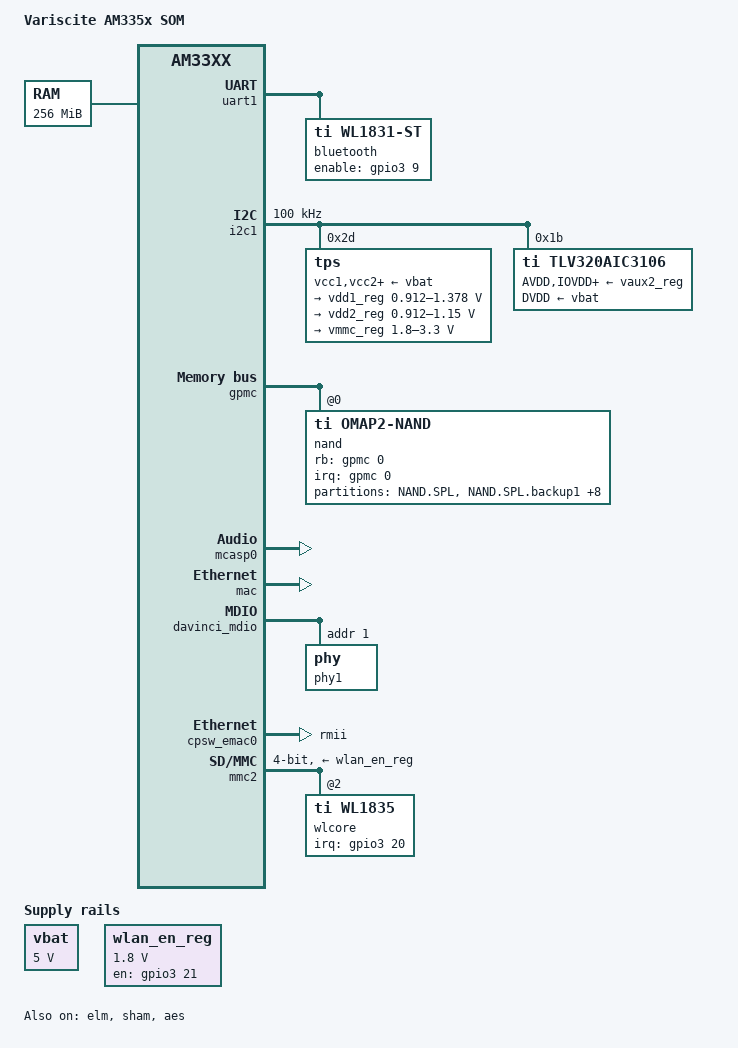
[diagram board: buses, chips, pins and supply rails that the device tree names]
// SPDX-License-Identifier: GPL-2.0-only
/*
 * Copyright (C) 2023 Variscite LTD - http://www.variscite.com/
 */
/dts-v1/;

#include "am33xx.dtsi"
#include <dt-bindings/interrupt-controller/irq.h>

/ {
	model = "Variscite AM335x SOM";
	compatible = "ti,var-som-am33", "ti,am33xx";

	cpus {
		cpu@0 {
			cpu0-supply = <&vdd1_reg>;
		};
	};

	memory@80000000 {
		device_type = "memory";
		reg = <0x80000000 0x10000000>; /* 256 MB */
	};

	vbat: fixedregulator0 {
		compatible = "regulator-fixed";
		regulator-name = "vbat";
		regulator-min-microvolt = <5000000>;
		regulator-max-microvolt = <5000000>;
		regulator-boot-on;
	};

	wlan_en_reg: fixedregulator1 {
		compatible = "regulator-fixed";
		regulator-name = "wlan-en-regulator";
		regulator-min-microvolt = <1800000>;
		regulator-max-microvolt = <1800000>;
		gpio = <&gpio3 21 GPIO_ACTIVE_HIGH>;
		startup-delay-us = <70000>;
		enable-active-high;
	};

	sound {
		compatible = "simple-audio-card";
		simple-audio-card,name = "VAR-SOM-AM33";
		simple-audio-card,widgets =
			"Headphone", "Headphone Jack",
			"Line", "Line In";
		simple-audio-card,routing =
			"Headphone Jack",	"HPLOUT",
			"Headphone Jack",	"HPROUT",
			"LINE1L",		"Line In",
			"LINE1R",		"Line In";
		simple-audio-card,format = "dsp_b";
		simple-audio-card,bitclock-master = <&sound_master>;
		simple-audio-card,frame-master = <&sound_master>;
		simple-audio-card,bitclock-inversion;

		simple-audio-card,cpu {
			sound-dai = <&mcasp0>;
		};

		sound_master: simple-audio-card,codec {
			sound-dai = <&tlv320aic3106>;
			system-clock-frequency = <24000000>;
		};
	};
};

&am33xx_pinmux {
	pinctrl-names = "default";
	pinctrl-0 = <&clkout1_pin>;

	i2c1_pins: pinmux_i2c1_pins {
		pinctrl-single,pins = <
			AM33XX_PADCONF(AM335X_PIN_SPI0_D1, PIN_INPUT_PULLUP, MUX_MODE2)		/* spi0_d1.i2c1_sda */
			AM33XX_PADCONF(AM335X_PIN_SPI0_CS0, PIN_INPUT_PULLUP, MUX_MODE2)	/* spi0_cs0.i2c1_scl */
		>;
	};

	uart1_pins_default: pinmux_uart1_pins_default {
		pinctrl-single,pins = <
			AM33XX_PADCONF(AM335X_PIN_UART1_CTSN, PIN_INPUT, MUX_MODE0)		/* uart1_ctsn.uart1_ctsn */
			AM33XX_PADCONF(AM335X_PIN_UART1_RTSN, PIN_OUTPUT_PULLDOWN, MUX_MODE0)	/* uart1_rtsn.uart1_rtsn */
			AM33XX_PADCONF(AM335X_PIN_UART1_RXD, PIN_INPUT_PULLUP, MUX_MODE0)	/* uart1_rxd.uart1_rxd */
			AM33XX_PADCONF(AM335X_PIN_UART1_TXD, PIN_OUTPUT_PULLDOWN, MUX_MODE0)	/* uart1_txd.uart1_txd */
		>;
	};

	uart1_pins_sleep: pinmux_uart1_pins_sleep {
		pinctrl-single,pins = <
			AM33XX_PADCONF(AM335X_PIN_UART1_CTSN, PIN_INPUT_PULLDOWN, MUX_MODE7)	/* uart1_ctsn.gpio0_12 */
			AM33XX_PADCONF(AM335X_PIN_UART1_RTSN, PIN_INPUT_PULLDOWN, MUX_MODE7)	/* uart1_rtsn.gpio0_13 */
			AM33XX_PADCONF(AM335X_PIN_UART1_RXD, PIN_INPUT_PULLDOWN, MUX_MODE7)	/* uart1_rxd.gpio0_14 */
			AM33XX_PADCONF(AM335X_PIN_UART1_TXD, PIN_INPUT_PULLDOWN, MUX_MODE7)	/* uart1_txd.gpio0_15 */
		>;
	};

	clkout1_pin: pinmux_clkout1_pin {
		pinctrl-single,pins = <
			AM33XX_PADCONF(AM335X_PIN_XDMA_EVENT_INTR0, PIN_OUTPUT_PULLDOWN, MUX_MODE3)	/* xdma_event_intr0.clkout1 */
		>;
	};

	nandflash_pins_default: pinmux_nandflash_pins_default{
		pinctrl-single,pins = <
			AM33XX_PADCONF(AM335X_PIN_GPMC_AD0, PIN_INPUT_PULLUP, MUX_MODE0)	/* gpmc_ad0.gpmc_ad0 */
			AM33XX_PADCONF(AM335X_PIN_GPMC_AD1, PIN_INPUT_PULLUP, MUX_MODE0)	/* gpmc_ad1.gpmc_ad1 */
			AM33XX_PADCONF(AM335X_PIN_GPMC_AD2, PIN_INPUT_PULLUP, MUX_MODE0)	/* gpmc_ad2.gpmc_ad2 */
			AM33XX_PADCONF(AM335X_PIN_GPMC_AD3, PIN_INPUT_PULLUP, MUX_MODE0)	/* gpmc_ad3.gpmc_ad3 */
			AM33XX_PADCONF(AM335X_PIN_GPMC_AD4, PIN_INPUT_PULLUP, MUX_MODE0)	/* gpmc_ad4.gpmc_ad4 */
			AM33XX_PADCONF(AM335X_PIN_GPMC_AD5, PIN_INPUT_PULLUP, MUX_MODE0)	/* gpmc_ad5.gpmc_ad5 */
			AM33XX_PADCONF(AM335X_PIN_GPMC_AD6, PIN_INPUT_PULLUP, MUX_MODE0)	/* gpmc_ad6.gpmc_ad6 */
			AM33XX_PADCONF(AM335X_PIN_GPMC_AD7, PIN_INPUT_PULLUP, MUX_MODE0)	/* gpmc_ad7.gpmc_ad7 */
			AM33XX_PADCONF(AM335X_PIN_GPMC_WAIT0, PIN_INPUT_PULLUP, MUX_MODE0)	/* gpmc_wait0.gpmc_wait0 */
			AM33XX_PADCONF(AM335X_PIN_GPMC_WPN, PIN_INPUT_PULLUP, MUX_MODE7)	/* gpmc_wpn.gpio0_31 */
			AM33XX_PADCONF(AM335X_PIN_GPMC_CSN0, PIN_OUTPUT, MUX_MODE0)		/* gpmc_csn0.gpmc_csn0 */
			AM33XX_PADCONF(AM335X_PIN_GPMC_ADVN_ALE, PIN_OUTPUT, MUX_MODE0)		/* gpmc_advn_ale.gpmc_advn_ale */
			AM33XX_PADCONF(AM335X_PIN_GPMC_OEN_REN, PIN_OUTPUT, MUX_MODE0)		/* gpmc_oen_ren.gpmc_oen_ren */
			AM33XX_PADCONF(AM335X_PIN_GPMC_WEN, PIN_OUTPUT, MUX_MODE0)		/* gpmc_wen.gpmc_wen */
			AM33XX_PADCONF(AM335X_PIN_GPMC_BEN0_CLE, PIN_OUTPUT, MUX_MODE0)		/* gpmc_ben0_cle.gpmc_ben0_cle */
		>;
	};

	nandflash_pins_sleep: pinmux_nandflash_pins_sleep {
		pinctrl-single,pins = <
			AM33XX_PADCONF(AM335X_PIN_GPMC_AD0, PIN_INPUT_PULLDOWN, MUX_MODE7)	/* gpmc_ad0.gpio1_0 */
			AM33XX_PADCONF(AM335X_PIN_GPMC_AD1, PIN_INPUT_PULLDOWN, MUX_MODE7)	/* gpmc_ad1.gpio1_1 */
			AM33XX_PADCONF(AM335X_PIN_GPMC_AD2, PIN_INPUT_PULLDOWN, MUX_MODE7)	/* gpmc_ad2.gpio1_2 */
			AM33XX_PADCONF(AM335X_PIN_GPMC_AD3, PIN_INPUT_PULLDOWN, MUX_MODE7)	/* gpmc_ad3.gpio1_3 */
			AM33XX_PADCONF(AM335X_PIN_GPMC_AD4, PIN_INPUT_PULLDOWN, MUX_MODE7)	/* gpmc_ad4.gpio1_4 */
			AM33XX_PADCONF(AM335X_PIN_GPMC_AD5, PIN_INPUT_PULLDOWN, MUX_MODE7)	/* gpmc_ad5.gpio1_5 */
			AM33XX_PADCONF(AM335X_PIN_GPMC_AD6, PIN_INPUT_PULLDOWN, MUX_MODE7)	/* gpmc_ad6.gpio1_6 */
			AM33XX_PADCONF(AM335X_PIN_GPMC_AD7, PIN_INPUT_PULLDOWN, MUX_MODE7)	/* gpmc_ad7.ggpio1_7 */
			AM33XX_PADCONF(AM335X_PIN_GPMC_WAIT0, PIN_INPUT_PULLDOWN, MUX_MODE7)	/* gpmc_wait0.gpio0_30 */
			AM33XX_PADCONF(AM335X_PIN_GPMC_WPN, PIN_INPUT_PULLDOWN, MUX_MODE7)	/* gpmc_wpn.gpio0_31 */
			AM33XX_PADCONF(AM335X_PIN_GPMC_CSN0, PIN_INPUT_PULLDOWN, MUX_MODE7)	/* gpmc_csn0.gpio1_29 */
			AM33XX_PADCONF(AM335X_PIN_GPMC_ADVN_ALE, PIN_INPUT_PULLDOWN, MUX_MODE7)	/* gpmc_advn_ale.gpio2_2 */
			AM33XX_PADCONF(AM335X_PIN_GPMC_OEN_REN, PIN_INPUT_PULLDOWN, MUX_MODE7)	/* gpmc_oen_ren.gpio2_3 */
			AM33XX_PADCONF(AM335X_PIN_GPMC_WEN, PIN_INPUT_PULLDOWN, MUX_MODE7)	/* gpmc_wen.gpio2_4 */
			AM33XX_PADCONF(AM335X_PIN_GPMC_BEN0_CLE, PIN_INPUT_PULLDOWN, MUX_MODE7)	/* gpmc_be0n_cle.gpio2_4 */
		>;
	};

	cpsw_slave1_default: pinmux_cpsw_slave1_default {
		pinctrl-single,pins = <
			/* Slave 1 */
			AM33XX_PADCONF(AM335X_PIN_MII1_CRS,PIN_INPUT_PULLDOWN, MUX_MODE1)	/* mii1_crs.rmii1_crs_dv */
			AM33XX_PADCONF(AM335X_PIN_MII1_RX_ER, PIN_INPUT_PULLDOWN, MUX_MODE1)	/* mii1_rxerr.rmii1_rxerr */
			AM33XX_PADCONF(AM335X_PIN_MII1_TX_EN, PIN_OUTPUT, MUX_MODE1)		/* mii1_txen.rmii1_txen */
			AM33XX_PADCONF(AM335X_PIN_MII1_TXD1, PIN_OUTPUT, MUX_MODE1)		/* mii1_txd1.rmii1_txd1 */
			AM33XX_PADCONF(AM335X_PIN_MII1_TXD0, PIN_OUTPUT, MUX_MODE1)		/* mii1_txd0.rmii1_txd0 */
			AM33XX_PADCONF(AM335X_PIN_MII1_RXD1, PIN_INPUT_PULLDOWN, MUX_MODE1)	/* mii1_rxd1.rmii1_rxd1 */
			AM33XX_PADCONF(AM335X_PIN_MII1_RXD0, PIN_INPUT_PULLDOWN, MUX_MODE1)	/* mii1_rxd0.rmii1_rxd0 */
			AM33XX_PADCONF(AM335X_PIN_RMII1_REF_CLK, PIN_INPUT_PULLDOWN, MUX_MODE0)	/* rmii1_refclk.rmii1_refclk */
			AM33XX_PADCONF(AM335X_PIN_MII1_RXD2, PIN_INPUT_PULLUP, MUX_MODE7)	/* mii1_rxd2.gpio2_19 */
		>;
	};

	cpsw_slave1_sleep: pinmux_cpsw_slave1_sleep {
		pinctrl-single,pins = <
			/* Slave 1 reset value */
			AM33XX_PADCONF(AM335X_PIN_MII1_CRS,PIN_INPUT_PULLDOWN, MUX_MODE7)	/* mii1_crs.gpio */
			AM33XX_PADCONF(AM335X_PIN_MII1_RX_ER, PIN_INPUT_PULLDOWN, MUX_MODE7)	/* mii1_rxerr.gpio */
			AM33XX_PADCONF(AM335X_PIN_MII1_TX_EN, PIN_INPUT_PULLDOWN, MUX_MODE7)	/* mii1_txen.gpio */
			AM33XX_PADCONF(AM335X_PIN_MII1_TXD1, PIN_INPUT_PULLDOWN, MUX_MODE7)	/* mii1_txd1.gpio */
			AM33XX_PADCONF(AM335X_PIN_MII1_TXD0, PIN_INPUT_PULLDOWN, MUX_MODE7)	/* mii1_txd0.gpio */
			AM33XX_PADCONF(AM335X_PIN_MII1_RXD1, PIN_INPUT_PULLDOWN, MUX_MODE7)	/* mii1_rxd1.gpio */
			AM33XX_PADCONF(AM335X_PIN_MII1_RXD0, PIN_INPUT_PULLDOWN, MUX_MODE7)	/* mii1_rxd0.gpio */
			AM33XX_PADCONF(AM335X_PIN_RMII1_REF_CLK, PIN_INPUT_PULLDOWN, MUX_MODE7)	/* rmii1_refclk.gpio */
			AM33XX_PADCONF(AM335X_PIN_MII1_RXD2, PIN_INPUT_PULLUP, MUX_MODE7)	/* mii1_rxd2.gpio2_19 */
		>;
	};

	davinci_mdio_default: davinci_mdio_default {
		pinctrl-single,pins = <
			/* MDIO */
			AM33XX_PADCONF(AM335X_PIN_MDIO, PIN_INPUT_PULLUP | SLEWCTRL_FAST, MUX_MODE0)	/* mdio_data.mdio_data */
			AM33XX_PADCONF(AM335X_PIN_MDC, PIN_OUTPUT_PULLUP, MUX_MODE0)			/* mdio_clk.mdio_clk */
		>;
	};

	davinci_mdio_sleep: davinci_mdio_sleep {
		pinctrl-single,pins = <
			/* MDIO reset value */
			AM33XX_PADCONF(AM335X_PIN_MDIO, PIN_INPUT_PULLDOWN, MUX_MODE7)		/* mdio_data.gpio */
			AM33XX_PADCONF(AM335X_PIN_MDC, PIN_INPUT_PULLDOWN, MUX_MODE7)		/* mdio_clk.gpio */
		>;
	};

	mcasp0_pins_default: mcasp0_pins_default {
		pinctrl-single,pins = <
			AM33XX_PADCONF(AM335X_PIN_MCASP0_ACLKX, PIN_INPUT_PULLDOWN, MUX_MODE0)	/* mcasp0_aclkx.mcasp0_aclkx */
			AM33XX_PADCONF(AM335X_PIN_MCASP0_FSX, PIN_INPUT_PULLDOWN, MUX_MODE0)	/* mcasp0_fsx.mcasp0_fsx */
			AM33XX_PADCONF(AM335X_PIN_MCASP0_ACLKR, PIN_INPUT_PULLDOWN, MUX_MODE2)	/* mcasp0_aclkr.mcasp0_axr2 */
			AM33XX_PADCONF(AM335X_PIN_MCASP0_FSR, PIN_INPUT_PULLDOWN, MUX_MODE2)	/* mcasp0_fsr.mcasp0_axr3 */
		>;
	};

	mcasp0_pins_sleep: mcasp0_pins_sleep {
		pinctrl-single,pins = <
			AM33XX_PADCONF(AM335X_PIN_MCASP0_ACLKX, PIN_INPUT_PULLDOWN, MUX_MODE7)	/* mcasp0_aclkx.gpio */
			AM33XX_PADCONF(AM335X_PIN_MCASP0_FSX, PIN_INPUT_PULLDOWN, MUX_MODE7)	/* mcasp0_fsx.gpio */
			AM33XX_PADCONF(AM335X_PIN_MCASP0_ACLKR, PIN_INPUT_PULLDOWN, MUX_MODE7)	/* mcasp0_aclkr.gpio */
			AM33XX_PADCONF(AM335X_PIN_MCASP0_FSR, PIN_INPUT_PULLDOWN, MUX_MODE7)	/* mcasp0_fsr.gpio */
		>;
	};

	/* wl18xx card on mmc2 */
	mmc2_pins_default: pinmux_mmc2_pins_default {
		pinctrl-single,pins = <
			AM33XX_PADCONF(AM335X_PIN_GPMC_AD8, PIN_INPUT_PULLUP, MUX_MODE2)	/* gpmc_ad8.mmc1_dat0 */
			AM33XX_PADCONF(AM335X_PIN_GPMC_AD9, PIN_INPUT_PULLUP, MUX_MODE2)	/* gpmc_ad9.mmc1_dat1 */
			AM33XX_PADCONF(AM335X_PIN_GPMC_AD10, PIN_INPUT_PULLUP, MUX_MODE2)	/* gpmc_ad10.mmc1_dat2 */
			AM33XX_PADCONF(AM335X_PIN_GPMC_AD11, PIN_INPUT_PULLUP, MUX_MODE2)	/* gpmc_ad11.mmc1_dat3 */
			AM33XX_PADCONF(AM335X_PIN_GPMC_CSN2, PIN_INPUT_PULLUP, MUX_MODE2)	/* gpmc_csn2.mmc1_cmd */
			AM33XX_PADCONF(AM335X_PIN_GPMC_CSN1, PIN_INPUT_PULLUP, MUX_MODE2)	/* gpmc_csn1.mmc1_clk */
		>;
	};

	mmc2_pins_sleep: pinmux_mmc2_pins_sleep {
		pinctrl-single,pins = <
			AM33XX_PADCONF(AM335X_PIN_GPMC_AD8, PIN_INPUT_PULLUP, MUX_MODE7)	/* gpmc_ad8.gpio */
			AM33XX_PADCONF(AM335X_PIN_GPMC_AD9, PIN_INPUT_PULLUP, MUX_MODE7)	/* gpmc_ad9.gpio */
			AM33XX_PADCONF(AM335X_PIN_GPMC_AD10, PIN_INPUT_PULLUP, MUX_MODE7)	/* gpmc_ad10.gpio */
			AM33XX_PADCONF(AM335X_PIN_GPMC_AD11, PIN_INPUT_PULLUP, MUX_MODE7)	/* gpmc_ad11.gpio */
			AM33XX_PADCONF(AM335X_PIN_GPMC_CSN2, PIN_INPUT_PULLUP, MUX_MODE7)	/* gpmc_csn2.gpio */
			AM33XX_PADCONF(AM335X_PIN_GPMC_CSN1, PIN_INPUT_PULLUP, MUX_MODE7)	/* gpmc_csn1.gpio */
		>;
	};

	/* wl18xx card enable/irq GPIOs. */
	wlan_pins_default: pinmux_wlan_pins_default {
		pinctrl-single,pins = <
			AM33XX_PADCONF(AM335X_PIN_MCASP0_AHCLKX, PIN_OUTPUT_PULLUP, MUX_MODE7)	/* mcasp0_ahclkx.gpio3_21, WL_EN */
			AM33XX_PADCONF(AM335X_PIN_MCASP0_AXR1, PIN_INPUT_PULLUP, MUX_MODE7)	/* mcasp0_axr1.gpio3_20, WL_IRQ */
		>;
	};

	bt_pins_default: pinmux_bt_pins_default {
		pinctrl-single,pins = <
			AM33XX_PADCONF(AM335X_PIN_MII1_TX_CLK, PIN_OUTPUT_PULLDOWN, MUX_MODE7)	/* mii1_txclk.gpio3_9, BT_EN */
		>;
	};

	wlan_pins_sleep: pinmux_wlan_pins_sleep {
		pinctrl-single,pins = <
			AM33XX_PADCONF(AM335X_PIN_MCASP0_AHCLKX, PIN_OUTPUT_PULLUP, MUX_MODE7)	/* mcasp0_ahclkx.gpio3_21, WL_EN */
			AM33XX_PADCONF(AM335X_PIN_MCASP0_AXR1, PIN_INPUT_PULLUP, MUX_MODE7)	/* mcasp0_axr1.gpio3_20, WL_IRQ */
		>;
	};

	bt_pins_sleep: pinmux_bt_pins_sleep {
		pinctrl-single,pins = <
			AM33XX_PADCONF(AM335X_PIN_MII1_TX_CLK, PIN_OUTPUT_PULLUP, MUX_MODE7)	/* mii1_txclk.gpio3_9, BT_EN */
		>;
	};
};

&uart1 {
	pinctrl-names = "default", "sleep";
	pinctrl-0 = <&uart1_pins_default &bt_pins_default>;
	pinctrl-1 = <&uart1_pins_sleep &bt_pins_sleep>;
	status = "okay";
	bluetooth {
		compatible = "ti,wl1831-st";
		enable-gpios = <&gpio3 9 GPIO_ACTIVE_HIGH>;
	};
};

&i2c1 {
	pinctrl-names = "default";
	pinctrl-0 = <&i2c1_pins>;

	status = "okay";
	clock-frequency = <100000>;

	tps: tps@2d {
		reg = <0x2d>;
	};

	tlv320aic3106: tlv320aic3106@1b {
		#sound-dai-cells = <0>;
		compatible = "ti,tlv320aic3106";
		reg = <0x1b>;
		status = "okay";

		/* Regulators */
		AVDD-supply = <&vaux2_reg>;
		IOVDD-supply = <&vaux2_reg>;
		DRVDD-supply = <&vaux2_reg>;
		DVDD-supply = <&vbat>;
	};
};

&elm {
	status = "okay";
};

&gpmc {
	status = "okay";
	pinctrl-names = "default", "sleep";
	pinctrl-0 = <&nandflash_pins_default>;
	pinctrl-1 = <&nandflash_pins_sleep>;
	ranges = <0 0 0x08000000 0x10000000>;	/* CS0: NAND */
	nand@0,0 {
		compatible = "ti,omap2-nand";
		reg = <0 0 4>; /* CS0, offset 0, IO size 4 */
		interrupt-parent = <&gpmc>;
		interrupts = <0 IRQ_TYPE_NONE>, /* fifoevent */
			     <1 IRQ_TYPE_NONE>;	/* termcount */
		rb-gpios = <&gpmc 0 GPIO_ACTIVE_HIGH>; /* gpmc_wait0 */
		ti,nand-xfer-type = "prefetch-dma";
		ti,nand-ecc-opt = "bch8";
		ti,elm-id = <&elm>;
		nand-bus-width = <8>;
		gpmc,device-width = <1>;
		gpmc,sync-clk-ps = <0>;
		gpmc,cs-on-ns = <0>;
		gpmc,cs-rd-off-ns = <44>;
		gpmc,cs-wr-off-ns = <44>;
		gpmc,adv-on-ns = <6>;
		gpmc,adv-rd-off-ns = <34>;
		gpmc,adv-wr-off-ns = <44>;
		gpmc,we-on-ns = <0>;
		gpmc,we-off-ns = <40>;
		gpmc,oe-on-ns = <0>;
		gpmc,oe-off-ns = <54>;
		gpmc,access-ns = <64>;
		gpmc,rd-cycle-ns = <82>;
		gpmc,wr-cycle-ns = <82>;
		gpmc,bus-turnaround-ns = <0>;
		gpmc,cycle2cycle-delay-ns = <0>;
		gpmc,clk-activation-ns = <0>;
		gpmc,wr-access-ns = <40>;
		gpmc,wr-data-mux-bus-ns = <0>;
		/* MTD partition table */
		/* All SPL-* partitions are sized to minimal length
		 * which can be independently programmable. For
		 * NAND flash this is equal to size of erase-block */
		#address-cells = <1>;
		#size-cells = <1>;
		partition@0 {
			label = "NAND.SPL";
			reg = <0x00000000 0x000020000>;
		};
		partition@1 {
			label = "NAND.SPL.backup1";
			reg = <0x00020000 0x00020000>;
		};
		partition@2 {
			label = "NAND.SPL.backup2";
			reg = <0x00040000 0x00020000>;
		};
		partition@3 {
			label = "NAND.SPL.backup3";
			reg = <0x00060000 0x00020000>;
		};
		partition@4 {
			label = "NAND.u-boot-spl-os";
			reg = <0x00080000 0x00040000>;
		};
		partition@5 {
			label = "NAND.u-boot";
			reg = <0x000C0000 0x00100000>;
		};
		partition@6 {
			label = "NAND.u-boot-env";
			reg = <0x001C0000 0x00020000>;
		};
		partition@7 {
			label = "NAND.u-boot-env.backup1";
			reg = <0x001E0000 0x00020000>;
		};
		partition@8 {
			label = "NAND.kernel";
			reg = <0x00200000 0x00800000>;
		};
		partition@9 {
			label = "NAND.file-system";
			reg = <0x00A00000 0x1f600000>;
		};
	};
};

#include "tps65910.dtsi"

&mcasp0 {
	#sound-dai-cells = <0>;
	pinctrl-names = "default", "sleep";
	pinctrl-0 = <&mcasp0_pins_default>;
	pinctrl-1 = <&mcasp0_pins_sleep>;

	status = "okay";

	op-mode = <0>;          /* MCASP_IIS_MODE */
	tdm-slots = <2>;
	/* 16 serializer */
	serial-dir = <  /* 0: INACTIVE, 1: TX, 2: RX */
		0 0 2 1
	>;
	tx-num-evt = <32>;
	rx-num-evt = <32>;
};

&tps {

	ti,en-ck32k-xtal;

	vcc1-supply = <&vbat>;
	vcc2-supply = <&vbat>;
	vcc3-supply = <&vbat>;
	vcc4-supply = <&vbat>;
	vcc5-supply = <&vbat>;
	vcc6-supply = <&vbat>;
	vcc7-supply = <&vbat>;
	vccio-supply = <&vbat>;

	regulators {
		vrtc_reg: regulator@0 {
			regulator-always-on;
		};

		vio_reg: regulator@1 {
			regulator-always-on;
		};

		vdd1_reg: regulator@2 {
			/* VDD_MPU voltage limits 0.95V - 1.325V with +/-4% tolerance */
			regulator-name = "vdd_mpu";
			regulator-min-microvolt = <912500>;
			regulator-max-microvolt = <1378000>;
			regulator-boot-on;
			regulator-always-on;
		};

		vdd2_reg: regulator@3 {
			/* VDD_CORE voltage limits 0.95V - 1.1V with +/-4% tolerance */
			regulator-name = "vdd_core";
			regulator-min-microvolt = <912500>;
			regulator-max-microvolt = <1150000>;
			regulator-boot-on;
			regulator-always-on;
		};

		vdd3_reg: regulator@4 {
			regulator-always-on;
		};

		vdig1_reg: regulator@5 {
			regulator-always-on;
		};

		vdig2_reg: regulator@6 {
			regulator-always-on;
		};

		vpll_reg: regulator@7 {
			regulator-always-on;
		};

		vdac_reg: regulator@8 {
			regulator-always-on;
		};

		vaux1_reg: regulator@9 {
			regulator-always-on;
		};

		vaux2_reg: regulator@10 {
			regulator-always-on;
		};

		vaux33_reg: regulator@11 {
			regulator-always-on;
		};

		vmmc_reg: regulator@12 {
			regulator-min-microvolt = <1800000>;
			regulator-max-microvolt = <3300000>;
			regulator-always-on;
		};
	};
};

&mac {
	pinctrl-names = "default", "sleep";
	pinctrl-0 = <&cpsw_slave1_default>;
	pinctrl-1 = <&cpsw_slave1_sleep>;
	status = "okay";
};

&davinci_mdio {
	pinctrl-names = "default", "sleep";
	pinctrl-0 = <&davinci_mdio_default>;
	pinctrl-1 = <&davinci_mdio_sleep>;
	status = "okay";

	phy1: phy@1 {
		reg = <1>;
		/*micrel,reset-regs;*/
	};

};

&cpsw_emac0 {
	phy_id = <&davinci_mdio>, <1>;
	phy-mode = "rmii";
	dual_emac_res_vlan = <1>;
};

&mmc2 {
	status = "okay";
	vmmc-supply = <&wlan_en_reg>;
	bus-width = <4>;
	pinctrl-names = "default", "sleep";
	pinctrl-0 = <&mmc2_pins_default &wlan_pins_default>;
	pinctrl-1 = <&mmc2_pins_sleep &wlan_pins_sleep>;
	ti,non-removable;
	ti,needs-special-hs-handling;
	cap-power-off-card;
	keep-power-in-suspend;

	#address-cells = <1>;
	#size-cells = <0>;

	wlcore: wlcore@2 {
		compatible = "ti,wl1835";
		reg = <2>;
		interrupt-parent = <&gpio3>;
		interrupts = <20 IRQ_TYPE_LEVEL_HIGH>;

                /* For WL12xx card set the clock to WL12XX_REFCLOCK_38_XTAL */
                ref-clock-frequency = <38400000>;
	};
};

&wkup_m3_ipc {
	ti,scale-data-fw = "am335x-evm-scale-data.bin";
};

&sham {
	status = "okay";
};

&aes {
	status = "okay";
};

&gpio0_target {
	ti,no-reset-on-init;
};

&rtc {
	clocks = <&clk_32768_ck>, <&clk_24mhz_clkctrl AM3_CLK_24MHZ_CLKDIV32K_CLKCTRL 0>;
	clock-names = "ext-clk", "int-clk";
};
